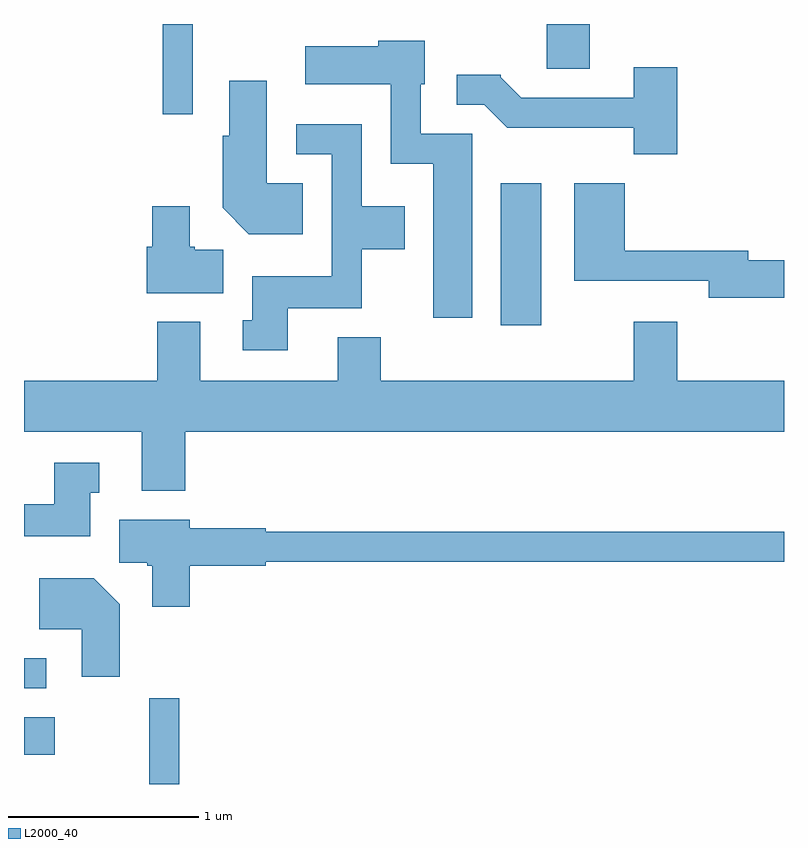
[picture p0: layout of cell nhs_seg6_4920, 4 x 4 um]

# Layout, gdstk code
import gdstk
lib = gdstk.Library(unit=1e-6, precision=1e-09)
def R(c, l, rs):  # rectangles x0, y0, x1, y1
    for r in rs: c.add(gdstk.rectangle(r[:2], r[2:], *l))
def P(c, l, *ps):  # polygons
    for p in ps: c.add(gdstk.Polygon(p, *l))
L2000_40 = (2000, 40)

nhs_seg6_4920 = lib.new_cell('nhs_seg6_4920')
R(nhs_seg6_4920, L2000_40, [(336.271,1568.162,336.429,1568.613), (335.611,1568.316,335.774,1568.514), (335.611,1568.666,335.728,1568.824), (338.121,1570.576,338.334,1571.324), (336.341,1571.688,336.499,1572.162), (338.361,1571.926,338.589,1572.162)])
P(nhs_seg6_4920, L2000_40, [(337.969,1571.584),(337.699,1571.584),(337.699,1571.846),(337.719,1571.846),(337.719,1572.074),(337.476,1572.074),(337.476,1572.044),(337.091,1572.044),(337.091,1571.846),(337.541,1571.846),(337.541,1571.426),(337.766,1571.426),(337.766,1570.616),(337.969,1570.616)],
  [(339.049,1571.934),(338.821,1571.934),(338.821,1571.774),(338.227,1571.774),(338.12,1571.881),(338.12,1571.894),(337.888,1571.894),(337.888,1571.736),(338.034,1571.736),(338.154,1571.616),(338.821,1571.616),(338.821,1571.476),(339.049,1571.476)],
  [(337.079,1571.324),(336.889,1571.324),(336.889,1571.864),(336.691,1571.864),(336.691,1571.574),(336.656,1571.574),(336.656,1571.194),(336.794,1571.056),(337.079,1571.056)],
  [(336.999,1570.666),(337.389,1570.666),(337.389,1570.976),(337.614,1570.976),(337.614,1571.204),(337.389,1571.204),(337.389,1571.634),(337.043,1571.634),(337.043,1571.476),(337.231,1571.476),(337.231,1570.834),(336.811,1570.834),(336.811,1570.604),(336.763,1570.604),(336.763,1570.446),(336.999,1570.446)],
  [(339.611,1570.919),(339.424,1570.919),(339.424,1570.969),(338.774,1570.969),(338.774,1571.324),(338.506,1571.324),(338.506,1570.811),(339.216,1570.811),(339.216,1570.721),(339.611,1570.721)],
  [(336.659,1570.974),(336.51,1570.974),(336.51,1570.989),(336.484,1570.989),(336.484,1571.204),(336.286,1571.204),(336.286,1570.989),(336.256,1570.989),(336.256,1570.746),(336.659,1570.746)],
  [(336.459,1570.016),(339.611,1570.016),(339.611,1570.284),(339.049,1570.284),(339.049,1570.594),(338.821,1570.594),(338.821,1570.284),(337.489,1570.284),(337.489,1570.514),(337.261,1570.514),(337.261,1570.284),(336.539,1570.284),(336.539,1570.594),(336.311,1570.594),(336.311,1570.284),(335.611,1570.284),(335.611,1570.016),(336.231,1570.016),(336.231,1569.706),(336.459,1569.706)],
  [(335.959,1569.696),(336.008,1569.696),(336.008,1569.854),(335.771,1569.854),(335.771,1569.634),(335.611,1569.634),(335.611,1569.466),(335.959,1569.466)],
  [(336.484,1569.311),(336.884,1569.311),(336.884,1569.331),(339.611,1569.331),(339.611,1569.489),(336.884,1569.489),(336.884,1569.509),(336.484,1569.509),(336.484,1569.554),(336.111,1569.554),(336.111,1569.326),(336.26,1569.326),(336.26,1569.311),(336.286,1569.311),(336.286,1569.096),(336.484,1569.096)],
  [(336.114,1569.107),(335.977,1569.244),(335.691,1569.244),(335.691,1568.976),(335.916,1568.976),(335.916,1568.726),(336.114,1568.726)])

lib.write_gds('nhs_seg6_4920.gds')
